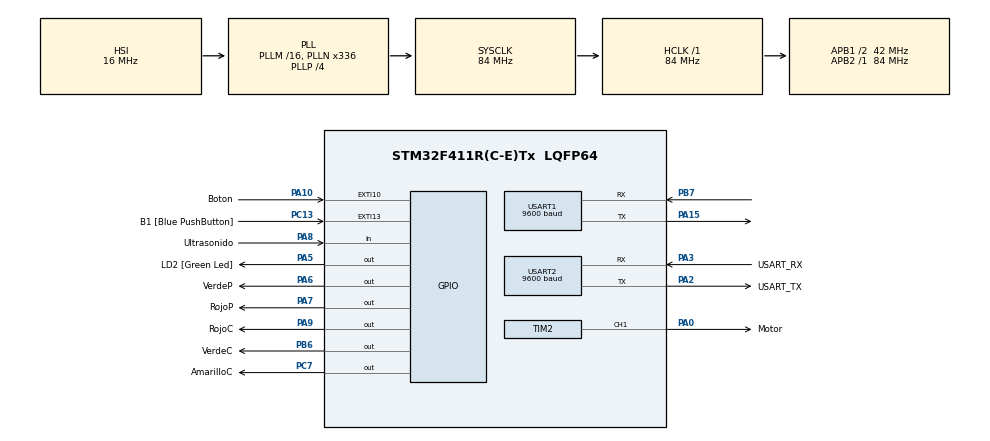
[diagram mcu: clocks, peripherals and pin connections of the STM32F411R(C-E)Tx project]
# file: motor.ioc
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Dma.Request0=USART2_TX
Dma.USART2_TX.0.Direction=DMA_MEMORY_TO_PERIPH
Dma.USART2_TX.0.FIFOMode=DMA_FIFOMODE_DISABLE
Dma.USART2_TX.0.Instance=DMA1_Stream6
Dma.USART2_TX.0.MemDataAlignment=DMA_MDATAALIGN_BYTE
Dma.USART2_TX.0.MemInc=DMA_MINC_ENABLE
Dma.USART2_TX.0.Mode=DMA_NORMAL
Dma.USART2_TX.0.PeriphDataAlignment=DMA_PDATAALIGN_BYTE
Dma.USART2_TX.0.PeriphInc=DMA_PINC_DISABLE
Dma.USART2_TX.0.Priority=DMA_PRIORITY_LOW
Mcu.Family=STM32F4
Mcu.Name=STM32F411R(C-E)Tx
Mcu.Package=LQFP64
NVIC.DMA1_Stream6_IRQn=true\:0\:0\:false\:false\:true\:false\:true
NVIC.EXTI15_10_IRQn=true\:0\:0\:false\:false\:true\:true\:true
NVIC.PriorityGroup=NVIC_PRIORITYGROUP_0
NVIC.TIM1_TRG_COM_TIM11_IRQn=true\:0\:0\:false\:false\:true\:true\:true
NVIC.TIM2_IRQn=true\:0\:0\:false\:false\:true\:true\:true
PA0-WKUP.GPIO_Label=Motor
PA0-WKUP.Signal=S_TIM2_CH1_ETR
PA10.GPIO_Label=Boton
PA10.Signal=GPXTI10
PA13.GPIO_Label=TMS
PA13.Mode=Serial_Wire
PA13.Signal=SYS_JTMS-SWDIO
PA14.GPIO_Label=TCK
PA14.Mode=Serial_Wire
PA14.Signal=SYS_JTCK-SWCLK
PA15.Mode=Asynchronous
PA15.Signal=USART1_TX
PA2.GPIO_Label=USART_TX
PA2.Mode=Asynchronous
PA2.Signal=USART2_TX
PA3.GPIO_Label=USART_RX
PA3.Mode=Asynchronous
PA3.Signal=USART2_RX
PA5.GPIO_Label=LD2 [Green Led]
PA5.Signal=GPIO_Output
PA6.GPIO_Label=VerdeP
PA6.Signal=GPIO_Output
PA7.GPIO_Label=RojoP
PA7.Signal=GPIO_Output
PA8.GPIO_Label=Ultrasonido
PA8.Signal=GPIO_Input
PA9.GPIO_Label=RojoC
PA9.Signal=GPIO_Output
PB3.GPIO_Label=SWO
PB3.Signal=SYS_JTDO-SWO
PB6.GPIO_Label=VerdeC
PB6.Signal=GPIO_Output
PB7.Mode=Asynchronous
PB7.Signal=USART1_RX
PC13-ANTI_TAMP.GPIO_Label=B1 [Blue PushButton]
PC13-ANTI_TAMP.GPIO_ModeDefaultEXTI=GPIO_MODE_IT_FALLING
PC13-ANTI_TAMP.Signal=GPXTI13
PC14-OSC32_IN.Mode=LSE-External-Oscillator
PC14-OSC32_IN.Signal=RCC_OSC32_IN
PC15-OSC32_OUT.Mode=LSE-External-Oscillator
PC15-OSC32_OUT.Signal=RCC_OSC32_OUT
PC7.GPIO_Label=AmarilloC
PC7.Signal=GPIO_Output
PH0\ -\ OSC_IN.Mode=HSE-External-Clock-Source
PH0\ -\ OSC_IN.Signal=RCC_OSC_IN
PH1\ -\ OSC_OUT.Mode=HSE-External-Clock-Source
PH1\ -\ OSC_OUT.Signal=RCC_OSC_OUT
ProjectManager.HeapSize=0x200
ProjectManager.StackSize=0x400
ProjectManager.TargetToolchain=Makefile
RCC.48MHZClocksFreq_Value=84000000
RCC.AHBFreq_Value=84000000
RCC.APB1CLKDivider=RCC_HCLK_DIV2
RCC.APB1Freq_Value=42000000
RCC.APB1TimFreq_Value=84000000
RCC.APB2Freq_Value=84000000
RCC.APB2TimFreq_Value=84000000
RCC.CortexFreq_Value=84000000
RCC.FLatency-AdvancedSettings=FLASH_LATENCY_2
RCC.HCLKFreq_Value=84000000
RCC.HSE_VALUE=8000000
RCC.HSI_VALUE=16000000
RCC.PLLN=336
RCC.PLLP=RCC_PLLP_DIV4
RCC.SYSCLKFreq_VALUE=84000000
RCC.SYSCLKSource=RCC_SYSCLKSOURCE_PLLCLK
RCC.VCOOutputFreq_Value=336000000
SH.S_TIM2_CH1_ETR.0=TIM2_CH1,PWM Generation1 CH1
TIM11.Period=9
TIM11.Prescaler=83
TIM2.Channel-PWM\ Generation1\ CH1=TIM_CHANNEL_1
TIM2.Period=999
TIM2.Prescaler=1679
USART1.BaudRate=9600
USART1.VirtualMode=VM_ASYNC
USART2.BaudRate=9600
USART2.VirtualMode=VM_ASYNC
VP_TIM11_VS_ClockSourceINT.Mode=Enable_Timer
board=NUCLEO-F411RE

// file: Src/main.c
/* USER CODE BEGIN Header */
/**
  ******************************************************************************
  * @file           : main.c
  * @brief          : Main program body
  ******************************************************************************
  * @attention
  *
  * <h2><center>&copy; Copyright (c) 2019 STMicroelectronics.
  * All rights reserved.</center></h2>
  *
  * This software component is licensed by ST under BSD 3-Clause license,
  * the "License"; You may not use this file except in compliance with the
  * License. You may obtain a copy of the License at:
  *                        opensource.org/licenses/BSD-3-Clause
  *
  ******************************************************************************
  */
/* USER CODE END Header */

#include "main.h"

TIM_HandleTypeDef htim2;
TIM_HandleTypeDef htim11;
int pulsado = 0;
int volatile times = 0;
int cercanos = 0;
uint8_t data[] = "Hola Mundo";
uint8_t rx_data[];
UART_HandleTypeDef huart1;
UART_HandleTypeDef huart2;
DMA_HandleTypeDef hdma_usart2_tx;

void SystemClock_Config(void);
static void MX_GPIO_Init(void);
static void MX_DMA_Init(void);
static void MX_USART2_UART_Init(void);
static void MX_TIM11_Init(void);
static void MX_TIM2_Init(void);
static void MX_USART1_UART_Init(void);

int main(void)
{
  /* USER CODE BEGIN 1 */
  int modo = 0;
  int control = 0;
  int counter_parpadeo = 0;
  /* USER CODE END 1 */

  /* MCU Configuration--------------------------------------------------------*/

  /* Reset of all peripherals, Initializes the Flash interface and the Systick. */
  HAL_Init();

  /* Configure the system clock */
  SystemClock_Config();

  /* Initialize all configured peripherals */
  MX_GPIO_Init();
  MX_DMA_Init();
  MX_USART2_UART_Init();
  MX_TIM11_Init();
  MX_TIM2_Init();
  HAL_TIM_Base_Start(&htim2);
  HAL_TIM_Base_Start(&htim11);
  MX_USART1_UART_Init();
  /* USER CODE BEGIN 2 */
  HAL_TIM_PWM_Start(&htim2, TIM_CHANNEL_1);
  /* USER CODE END 2 */
  HAL_TIM_Base_Start_IT(&htim11);
  HAL_TIM_Base_Start_IT(&htim2);
  /* USER CODE END 2 */

  /* Infinite loop */
  while (1)
  {
    htim2.Instance->CCR1 = 75;
    HAL_Delay(1000);
    GPIOB->ODR |= GPIO_ODR_OD6_Msk; //Encender Verde Coches
    GPIOA->ODR |= GPIO_ODR_OD7_Msk; //Encender Rojo Peatones
    *data = "Caso 0";
/*
    HAL_UART_Transmit_IT(&huart2, data, sizeof(data)); //Mandar Pulsar Botón
    HAL_Delay(1000);
    HAL_UART_Receive_IT(&huart2, rx_data, 4);
    data = rx_data;
*/

    HAL_UART_Transmit(&huart1, data, sizeof(data), 1000); //Mandar Pulsar Botón
    HAL_Delay(1000);
    HAL_UART_Receive(&huart1, rx_data, sizeof(data), 1000);
    *data = rx_data;

    printf("Dato %s\n", data);
    if (pulsado == 1)
    {
      modo = 1;
      control = 1;
      counter_parpadeo = 0;
      ultrasonidos();
      while (control == 1)
      {
        switch (modo)
        {
        case 1:
          counter_parpadeo = 0;
          if (cercanos == 1)
          {
            HAL_Delay(3000);
          }
          GPIOB->ODR &= ~GPIO_ODR_OD6_Msk; //Apagar verde coches
          GPIOC->ODR |= GPIO_ODR_OD7_Msk;  //Encender amarillo coches
          *data = "Caso 1";
          HAL_UART_Transmit(&huart1, data, sizeof(data), 1000); //Mandar Espere Verde
          HAL_UART_Receive(&huart1, rx_data, 4, 1000);
          *data=rx_data;
          printf("Dato %s\n", data);
          HAL_Delay(3000);
          modo = 2;
          break;
        case 2:
          GPIOC->ODR &= ~GPIO_ODR_OD7_Msk; //Apagar amarillo coches
          GPIOA->ODR |= GPIO_ODR_OD9_Msk;  //Encender rojo coches
          htim2.Instance->CCR1 = 25;
          GPIOA->ODR &= ~GPIO_ODR_OD7_Msk; //Apagamos rojo peatones
          GPIOA->ODR |= GPIO_ODR_OD6_Msk;  //Encender verde peatones
          *data = "Caso 2";
          HAL_UART_Transmit(&huart1, data, sizeof(data), 1000); //Mandar Pase
          HAL_UART_Receive(&huart1, rx_data, 4, 1000);
          *data = rx_data;
          printf("Dato %s\n", data);
          HAL_Delay(3000);
          modo = 3;
          break;
        case 3:
          while (counter_parpadeo < 3)
          {
            GPIOA->ODR &= ~GPIO_ODR_OD6_Msk; //Apagar verde peatones
            HAL_Delay(100);
            GPIOA->ODR |= GPIO_ODR_OD6_Msk; //Encender verde peatones
            HAL_Delay(100);
            counter_parpadeo++;
          }
          modo = 4;
          break;
        case 4:
          GPIOA->ODR &= ~GPIO_ODR_OD6_Msk; //Apagar verde peatones
          GPIOA->ODR &= ~GPIO_ODR_OD9_Msk; //Apagar rojo coches
          GPIOB->ODR |= GPIO_ODR_OD6_Msk;  //Encendemos verde coches
          GPIOA->ODR |= GPIO_ODR_OD7_Msk;  //Encendemos rojo peatones
          modo = 1;
          control = 0;
          pulsado = 0;
          cercanos = 0;
          times = 0;
          break;
        }
      }
    }
  }
}

void SystemClock_Config(void)
{
  RCC_OscInitTypeDef RCC_OscInitStruct = {0};
  RCC_ClkInitTypeDef RCC_ClkInitStruct = {0};

  /** Configure the main internal regulator output voltage
  */
  __HAL_RCC_PWR_CLK_ENABLE();
  __HAL_PWR_VOLTAGESCALING_CONFIG(PWR_REGULATOR_VOLTAGE_SCALE1);
  /** Initializes the CPU, AHB and APB busses clocks
  */
  RCC_OscInitStruct.OscillatorType = RCC_OSCILLATORTYPE_HSI;
  RCC_OscInitStruct.HSIState = RCC_HSI_ON;
  RCC_OscInitStruct.HSICalibrationValue = RCC_HSICALIBRATION_DEFAULT;
  RCC_OscInitStruct.PLL.PLLState = RCC_PLL_ON;
  RCC_OscInitStruct.PLL.PLLSource = RCC_PLLSOURCE_HSI;
  RCC_OscInitStruct.PLL.PLLM = 16;
  RCC_OscInitStruct.PLL.PLLN = 336;
  RCC_OscInitStruct.PLL.PLLP = RCC_PLLP_DIV4;
  RCC_OscInitStruct.PLL.PLLQ = 4;
  if (HAL_RCC_OscConfig(&RCC_OscInitStruct) != HAL_OK)
  {
    Error_Handler();
  }
  /** Initializes the CPU, AHB and APB busses clocks
  */
  RCC_ClkInitStruct.ClockType = RCC_CLOCKTYPE_HCLK|RCC_CLOCKTYPE_SYSCLK
                              |RCC_CLOCKTYPE_PCLK1|RCC_CLOCKTYPE_PCLK2;
  RCC_ClkInitStruct.SYSCLKSource = RCC_SYSCLKSOURCE_PLLCLK;
  RCC_ClkInitStruct.AHBCLKDivider = RCC_SYSCLK_DIV1;
  RCC_ClkInitStruct.APB1CLKDivider = RCC_HCLK_DIV2;
  RCC_ClkInitStruct.APB2CLKDivider = RCC_HCLK_DIV1;

  if (HAL_RCC_ClockConfig(&RCC_ClkInitStruct, FLASH_LATENCY_2) != HAL_OK)
  {
    Error_Handler();
  }
}

static void MX_TIM2_Init(void)
{

  TIM_MasterConfigTypeDef sMasterConfig = {0};
  TIM_OC_InitTypeDef sConfigOC = {0};

  htim2.Instance = TIM2;
  htim2.Init.Prescaler = 16679;
  htim2.Init.CounterMode = TIM_COUNTERMODE_UP;
  htim2.Init.Period = 999;
  htim2.Init.ClockDivision = TIM_CLOCKDIVISION_DIV1;
  //htim2.Init.AutoReloadPreload = TIM_AUTORELOAD_PRELOAD_DISABLE;
  if (HAL_TIM_PWM_Init(&htim2) != HAL_OK)
  {
    Error_Handler();
  }
  sMasterConfig.MasterOutputTrigger = TIM_TRGO_RESET;
  sMasterConfig.MasterSlaveMode = TIM_MASTERSLAVEMODE_DISABLE;
  if (HAL_TIMEx_MasterConfigSynchronization(&htim2, &sMasterConfig) != HAL_OK)
  {
    Error_Handler();
  }
  sConfigOC.OCMode = TIM_OCMODE_PWM1;
  sConfigOC.Pulse = 0;
  sConfigOC.OCPolarity = TIM_OCPOLARITY_HIGH;
  sConfigOC.OCFastMode = TIM_OCFAST_DISABLE;
  if (HAL_TIM_PWM_ConfigChannel(&htim2, &sConfigOC, TIM_CHANNEL_1) != HAL_OK)
  {
    Error_Handler();
  }
  HAL_TIM_MspPostInit(&htim2);

}

static void MX_TIM11_Init(void)
{

  htim11.Instance = TIM11;
  htim11.Init.Prescaler = 83;
  htim11.Init.CounterMode = TIM_COUNTERMODE_UP;
  htim11.Init.Period = 9;
  htim11.Init.ClockDivision = TIM_CLOCKDIVISION_DIV1;
 // htim11.Init.AutoReloadPreload = TIM_AUTORELOAD_PRELOAD_DISABLE;
  if (HAL_TIM_Base_Init(&htim11) != HAL_OK)
  {
    Error_Handler();
  }

}

static void MX_USART1_UART_Init(void)
{

  huart1.Instance = USART1;
  huart1.Init.BaudRate = 9600;
  huart1.Init.WordLength = UART_WORDLENGTH_8B;
  huart1.Init.StopBits = UART_STOPBITS_1;
  huart1.Init.Parity = UART_PARITY_NONE;
  huart1.Init.Mode = UART_MODE_TX_RX;
  huart1.Init.HwFlowCtl = UART_HWCONTROL_NONE;
  huart1.Init.OverSampling = UART_OVERSAMPLING_16;
  if (HAL_UART_Init(&huart1) != HAL_OK)
  {
    Error_Handler();
  }

}

static void MX_USART2_UART_Init(void)
{

  huart2.Instance = USART2;
  huart2.Init.BaudRate = 9600;
  huart2.Init.WordLength = UART_WORDLENGTH_8B;
  huart2.Init.StopBits = UART_STOPBITS_1;
  huart2.Init.Parity = UART_PARITY_NONE;
  huart2.Init.Mode = UART_MODE_TX_RX;
  huart2.Init.HwFlowCtl = UART_HWCONTROL_NONE;
  huart2.Init.OverSampling = UART_OVERSAMPLING_16;
  if (HAL_UART_Init(&huart2) != HAL_OK)
  {
    Error_Handler();
  }

}

static void MX_DMA_Init(void)
{
  /* DMA controller clock enable */
  __HAL_RCC_DMA1_CLK_ENABLE();

  /* DMA interrupt init */
  /* DMA1_Stream6_IRQn interrupt configuration */
  HAL_NVIC_SetPriority(DMA1_Stream6_IRQn, 0, 0);
  HAL_NVIC_EnableIRQ(DMA1_Stream6_IRQn);

}

static void MX_GPIO_Init(void)
{
  GPIO_InitTypeDef GPIO_InitStruct = {0};

  /* GPIO Ports Clock Enable */
  __HAL_RCC_GPIOC_CLK_ENABLE();
  __HAL_RCC_GPIOH_CLK_ENABLE();
  __HAL_RCC_GPIOA_CLK_ENABLE();
  __HAL_RCC_GPIOB_CLK_ENABLE();

  /*Configure GPIO pin Output Level */
  HAL_GPIO_WritePin(GPIOA, LD2_Pin|VerdeP_Pin|RojoP_Pin|RojoC_Pin, GPIO_PIN_RESET);

  /*Configure GPIO pin Output Level */
  HAL_GPIO_WritePin(AmarilloC_GPIO_Port, AmarilloC_Pin, GPIO_PIN_RESET);

  /*Configure GPIO pin Output Level */
  HAL_GPIO_WritePin(VerdeC_GPIO_Port, VerdeC_Pin, GPIO_PIN_RESET);

  /*Configure GPIO pin : B1_Pin */
  GPIO_InitStruct.Pin = B1_Pin;
  GPIO_InitStruct.Mode = GPIO_MODE_IT_FALLING;
  GPIO_InitStruct.Pull = GPIO_NOPULL;
  HAL_GPIO_Init(B1_GPIO_Port, &GPIO_InitStruct);

  /*Configure GPIO pins : LD2_Pin VerdeP_Pin RojoP_Pin RojoC_Pin */
  GPIO_InitStruct.Pin = LD2_Pin|VerdeP_Pin|RojoP_Pin|RojoC_Pin;
  GPIO_InitStruct.Mode = GPIO_MODE_OUTPUT_PP;
  GPIO_InitStruct.Pull = GPIO_NOPULL;
  GPIO_InitStruct.Speed = GPIO_SPEED_FREQ_LOW;
  HAL_GPIO_Init(GPIOA, &GPIO_InitStruct);

  /*Configure GPIO pin : AmarilloC_Pin */
  GPIO_InitStruct.Pin = AmarilloC_Pin;
  GPIO_InitStruct.Mode = GPIO_MODE_OUTPUT_PP;
  GPIO_InitStruct.Pull = GPIO_NOPULL;
  GPIO_InitStruct.Speed = GPIO_SPEED_FREQ_LOW;
  HAL_GPIO_Init(AmarilloC_GPIO_Port, &GPIO_InitStruct);

  /*Configure GPIO pin : Ultrasonido_Pin */
  GPIO_InitStruct.Pin = Ultrasonido_Pin;
  GPIO_InitStruct.Mode = GPIO_MODE_INPUT;
  GPIO_InitStruct.Pull = GPIO_NOPULL;
  HAL_GPIO_Init(Ultrasonido_GPIO_Port, &GPIO_InitStruct);

  /*Configure GPIO pin : Boton_Pin */
  GPIO_InitStruct.Pin = Boton_Pin;
  GPIO_InitStruct.Mode = GPIO_MODE_IT_RISING;
  GPIO_InitStruct.Pull = GPIO_NOPULL;
  HAL_GPIO_Init(Boton_GPIO_Port, &GPIO_InitStruct);

  /*Configure GPIO pin : VerdeC_Pin */
  GPIO_InitStruct.Pin = VerdeC_Pin;
  GPIO_InitStruct.Mode = GPIO_MODE_OUTPUT_PP;
  GPIO_InitStruct.Pull = GPIO_NOPULL;
  GPIO_InitStruct.Speed = GPIO_SPEED_FREQ_LOW;
  HAL_GPIO_Init(VerdeC_GPIO_Port, &GPIO_InitStruct);

  /* EXTI interrupt init*/
  HAL_NVIC_SetPriority(EXTI15_10_IRQn, 0, 0);
  HAL_NVIC_EnableIRQ(EXTI15_10_IRQn);

}

/* USER CODE BEGIN 4 */
void HAL_GPIO_EXTI_Callback(uint16_t GPIO_Pin)
{
  __disable_irq();
  if (GPIO_Pin == GPIO_PIN_10)
    pulsado = 1;
  __enable_irq();
}

void HAL_UART_TxCpltCallback(UART_HandleTypeDef *huart)
{
  HAL_UART_Transmit_IT(&huart2, data, sizeof(data));
}

void HAL_UART_RxCpltCallback(UART_HandleTypeDef *huart)
{
  HAL_UART_Receive_IT(&huart2, rx_data, 4);
}

void cambiarModoPin(int modo)
{
  GPIO_InitTypeDef GPIO_InitStruct = {0};
  if (modo == 0) //Output
  {
    GPIO_InitStruct.Pin = GPIO_PIN_8;
    GPIO_InitStruct.Mode = GPIO_MODE_OUTPUT_PP;
    GPIO_InitStruct.Pull = GPIO_NOPULL;
    HAL_GPIO_Init(GPIOA, &GPIO_InitStruct);
  }
  else if (modo == 1) //Input
  {
    GPIO_InitStruct.Pin = GPIO_PIN_8;
    GPIO_InitStruct.Mode = GPIO_MODE_INPUT;
    GPIO_InitStruct.Pull = GPIO_NOPULL;
    HAL_GPIO_Init(GPIOA, &GPIO_InitStruct);
  }
}

int __io_putchar(int ch)
{
  uint8_t c[1];
  c[0] = ch & 0x00FF;
  HAL_UART_Transmit(&huart2, &*c, 1, 100);
  return ch;
}

int _write(int file, char *ptr, int len)
{
  int DataIdx;
  for (DataIdx = 0; DataIdx < len; DataIdx++)
  {
    __io_putchar(*ptr++);
  }
  return len;
}

int calcularDistanciaCm(int veces)
{
  int distancia = 0;
  distancia = (veces * 10) / 58;
  printf("D: %d cm.\n", distancia);
  return distancia;
}

void ultrasonidos()
{
  int times2 = 0;
  int times3 = 0;
  cambiarModoPin(0); //Modo output
  times = 0;
  HAL_GPIO_WritePin(GPIOA, GPIO_PIN_8, GPIO_PIN_SET);

  while (times >= 1)
  {
  }

  cambiarModoPin(1); //Modo Input

  while (!(GPIOA->IDR & GPIO_IDR_ID8_Msk))
  {
  }
  times2 = times;
  while ((GPIOA->IDR & GPIO_IDR_ID8_Msk))
  {
  }
  times3 = times;

  if (calcularDistanciaCm(times3 - times2) < 40)
  {
    cercanos = 1;
  }
}

void HAL_TIM_PeriodElapsedCallback(TIM_HandleTypeDef *htim)
{
  if (htim->Instance == TIM11)
  {
    times++;
  }
}
/* USER CODE END 4 */

void Error_Handler(void)
{
}

/************************ (C) COPYRIGHT STMicroelectronics *****END OF FILE****/
